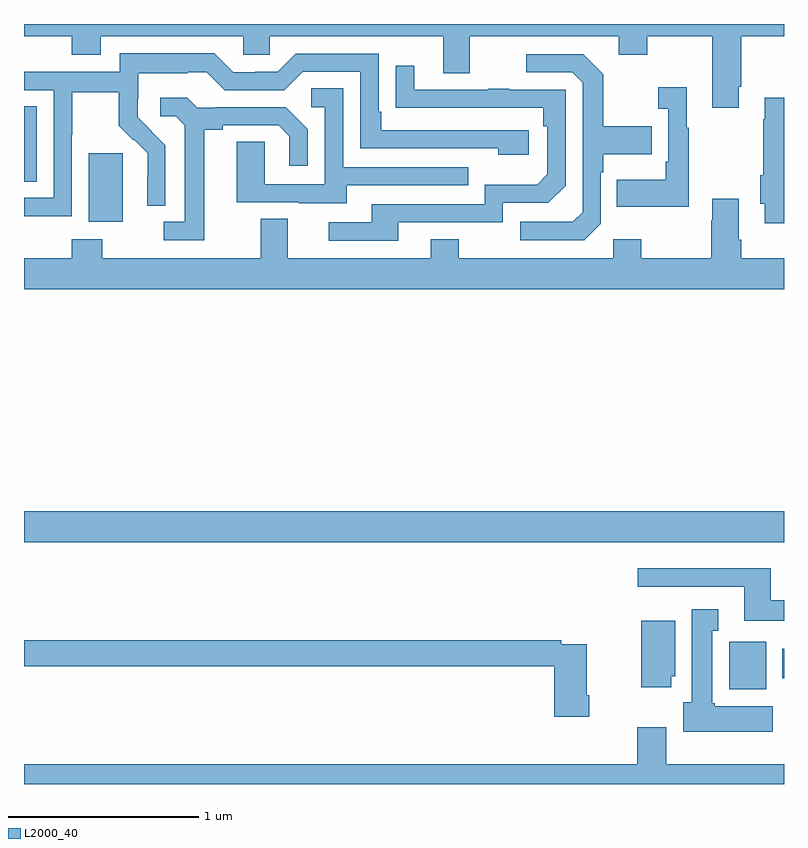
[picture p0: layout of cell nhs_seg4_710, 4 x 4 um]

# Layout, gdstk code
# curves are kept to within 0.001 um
import gdstk
lib = gdstk.Library(unit=1e-6, precision=1e-09)
def R(c, l, rs):  # rectangles x0, y0, x1, y1
    for r in rs: c.add(gdstk.rectangle(r[:2], r[2:], *l))
def P(c, l, *ps):  # polygons
    for p in ps: c.add(gdstk.Polygon(p, *l))
L2000_40 = (2000, 40)

nhs_seg4_710 = lib.new_cell('nhs_seg4_710')
R(nhs_seg4_710, L2000_40, [(150.711,777.398,150.907,777.648), (150.992,777.457,151,777.613), (147,778.172,151,778.336), (147.341,779.858,147.52,780.219), (147,780.07,147.067,780.467)])
P(nhs_seg4_710, L2000_40, [(150.763,780.571),(150.776,780.571),(150.776,780.836),(151,780.836),(151,780.9),(147,780.9),(147,780.836),(147.251,780.836),(147.251,780.737),(147.403,780.737),(147.403,780.836),(148.155,780.836),(148.155,780.738),(148.293,780.738),(148.293,780.836),(149.207,780.836),(149.207,780.642),(149.347,780.642),(149.347,780.836),(150.131,780.836),(150.131,780.737),(150.279,780.737),(150.279,780.836),(150.623,780.836),(150.623,780.459),(150.763,780.459)],
  [(147.252,780.316),(147.255,780.316),(147.255,780.54),(147.499,780.54),(147.499,780.365),(147.576,780.288),(147.579,780.291),(147.65,780.221),(147.65,780.098),(147.648,780.098),(147.648,779.944),(147.744,779.944),(147.744,780.262),(147.598,780.41),(147.598,780.507),(147.6,780.507),(147.6,780.641),(147.863,780.641),(147.863,780.645),(147.963,780.645),(148.056,780.552),(148.371,780.552),(148.467,780.648),(148.77,780.648),(148.77,780.246),(149.495,780.246),(149.495,780.212),(149.656,780.212),(149.656,780.342),(148.879,780.342),(148.879,780.439),(148.866,780.439),(148.866,780.744),(148.431,780.744),(148.335,780.648),(148.217,780.648),(148.217,780.645),(148.101,780.645),(148.001,780.745),(147.504,780.745),(147.504,780.648),(147,780.648),(147,780.552),(147.156,780.552),(147.156,779.985),(147,779.985),(147,779.887),(147.252,779.887)],
  [(150.036,779.85),(150.036,780.119),(150.049,780.119),(150.049,780.215),(150.305,780.215),(150.305,780.363),(150.049,780.363),(150.049,780.635),(149.943,780.741),(149.643,780.741),(149.643,780.645),(149.886,780.645),(149.94,780.591),(149.94,779.91),(149.889,779.859),(149.613,779.859),(149.613,779.763),(149.949,779.763)],
  [(148.969,779.856),(149.52,779.856),(149.52,779.958),(149.76,779.958),(149.85,780.048),(149.85,780.555),(149.555,780.555),(149.555,780.56),(149.443,780.56),(149.443,780.555),(149.053,780.555),(149.053,780.679),(148.957,780.679),(148.957,780.46),(149.734,780.459),(149.734,780.362),(149.754,780.362),(149.754,780.108),(149.701,780.055),(149.424,780.055),(149.424,779.952),(148.829,779.952),(148.829,779.856),(148.605,779.856),(148.605,779.76),(148.969,779.76)],
  [(150.499,780.355),(150.487,780.355),(150.487,780.568),(150.339,780.568),(150.339,780.455),(150.39,780.455),(150.39,780.175),(150.378,780.175),(150.378,780.079),(150.121,780.079),(150.121,779.939),(150.499,779.939)],
  [(148.699,780.051),(149.339,780.051),(149.339,780.147),(148.68,780.147),(148.68,780.563),(148.512,780.563),(148.512,780.462),(148.584,780.462),(148.584,780.057),(148.266,780.057),(148.266,780.281),(148.121,780.281),(148.121,779.961),(148.445,779.961),(148.445,779.957),(148.699,779.957)],
  [(147.949,780.344),(148.045,780.344),(148.045,780.366),(148.34,780.366),(148.397,780.309),(148.397,780.153),(148.494,780.153),(148.494,780.346),(148.378,780.462),(148.006,780.462),(148.006,780.459),(147.912,780.459),(147.86,780.511),(147.717,780.511),(147.717,780.414),(147.798,780.414),(147.845,780.367),(147.845,779.859),(147.735,779.859),(147.735,779.763),(147.949,779.763)],
  [(151,780.511),(150.899,780.511),(150.899,780.398),(150.892,780.398),(150.892,780.105),(150.875,780.105),(150.875,779.955),(150.899,779.955),(150.899,779.852),(151,779.852)],
  [(147.251,779.767),(147.251,779.668),(147,779.668),(147,779.504),(151,779.504),(151,779.668),(150.776,779.668),(150.776,779.764),(150.763,779.764),(150.763,779.98),(150.623,779.98),(150.623,779.867),(150.616,779.867),(150.616,779.668),(150.249,779.668),(150.249,779.767),(150.102,779.767),(150.102,779.668),(149.289,779.668),(149.289,779.767),(149.141,779.767),(149.141,779.668),(148.387,779.668),(148.387,779.876),(148.247,779.876),(148.247,779.668),(147.411,779.668),(147.411,779.767)],
  [(151,777.868),(150.931,777.868),(150.931,778.036),(150.231,778.036),(150.231,777.939),(150.791,777.939),(150.791,777.758),(151,777.758)],
  [(150.94,777.31),(150.636,777.31),(150.636,777.324),(150.622,777.324),(150.622,777.707),(150.655,777.707),(150.655,777.82),(150.515,777.82),(150.515,777.33),(150.47,777.33),(150.47,777.176),(150.94,777.176)],
  [(150.406,777.468),(150.427,777.468),(150.427,777.76),(150.248,777.76),(150.248,777.408),(150.406,777.408)],
  [(149.975,777.367),(149.962,777.367),(149.962,777.636),(149.828,777.636),(149.828,777.656),(147,777.656),(147,777.52),(149.792,777.52),(149.792,777.255),(149.975,777.255)],
  [(151,777.004),(150.379,777.004),(150.379,777.199),(150.227,777.199),(150.227,777.004),(147,777.004),(147,776.9),(151,776.9)])

lib.write_gds('nhs_seg4_710.gds')
